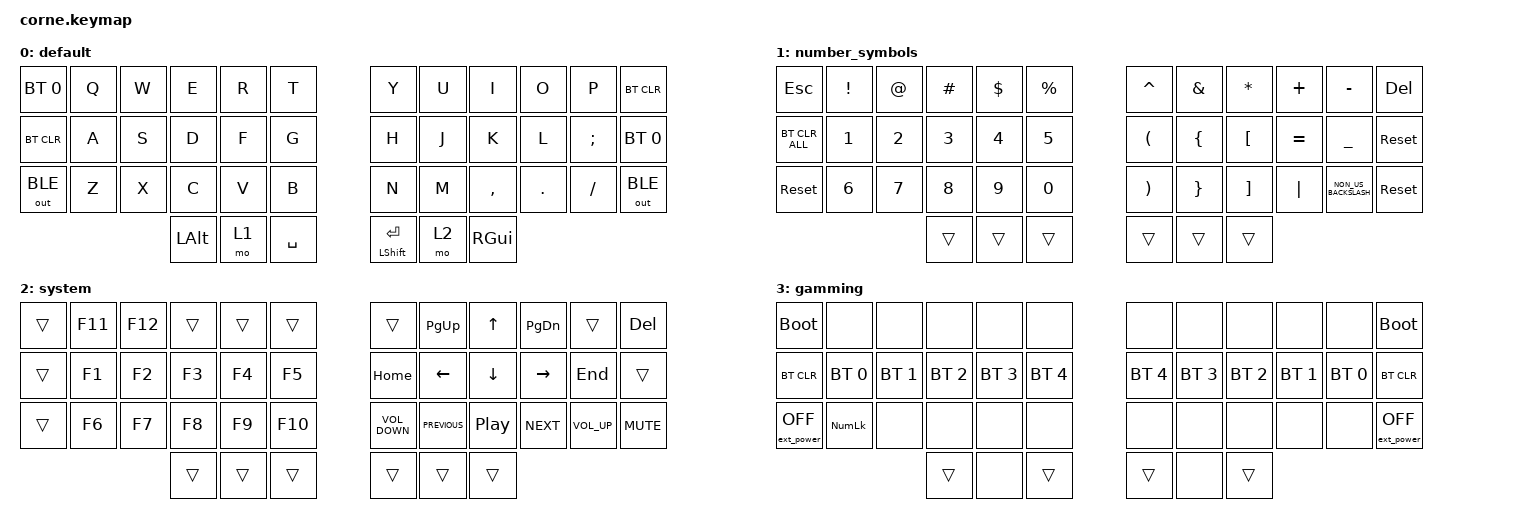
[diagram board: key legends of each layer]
/*
 * Copyright (c) 2020 The ZMK Contributors
 *
 * SPDX-License-Identifier: MIT
 */

#include <behaviors.dtsi>
#include <dt-bindings/zmk/bt.h>
#include <dt-bindings/zmk/ext_power.h>
#include <dt-bindings/zmk/keys.h>
#include <dt-bindings/zmk/outputs.h>

#define DEF 0
#define LWR 1
#define RSE 2
#define ADJ 3

&lt { quick_tap_ms = <220>; };

&mt { quick_tap_ms = <220>; };

/ {
    macros {
        numdot: numdot {
            label = "ZM_numdot";
            compatible = "zmk,behavior-macro";
            #binding-cells = <0>;
            wait-ms = <40>;
            tap-ms = <40>;
            bindings =
                <&macro_press>,
                <&kp LALT>,
                <&macro_tap>,
                <&kp KP_N4 &kp KP_N6>,
                <&macro_release>,
                <&kp LALT>;
        };

        grtsgn: grtsgn {
            label = "ZM_grtsgn";
            compatible = "zmk,behavior-macro";
            #binding-cells = <0>;
            wait-ms = <40>;
            tap-ms = <40>;
            bindings =
                <&macro_press>,
                <&kp LALT>,
                <&macro_tap>,
                <&kp KP_N6 &kp KP_N2>,
                <&macro_release>,
                <&kp LALT>;
        };
    };
};

/ {
    keymap {
        compatible = "zmk,keymap";

        default {
            // ------------------------------------------------------------------------------------------------
            //| LGUI/] |  Q  |  W  |  E  |  R  |  T  |   |  Y  |  U   |  I  |  O  |  P  | RGUI/[ | 
            //| CTRL/` |  A  |  S  |  D  |  F  |  G  |   |  H  |  J   |  K  |  L  |  ;  | CTRL/' |
            //| LALT/\ |  Z  |  X  |  C  |  V  |  B  |   |  N  |  M   |  ,  |  .  |  /  | RALT/- |
            //                             | RSE | SPC | LWR |   | LWR | BKSP | RSE |

            bindings = <
&bt BT_SEL 0  &kp Q  &kp W  &kp E         &kp R  &kp T        &kp Y            &kp U  &kp I          &kp O    &kp P     &bt BT_CLR
&bt BT_CLR    &kp A  &kp S  &kp D         &kp F  &kp G        &kp H            &kp J  &kp K          &kp L    &kp SEMI  &bt BT_SEL 0
&out OUT_BLE  &kp Z  &kp X  &kp C         &kp V  &kp B        &kp N            &kp M  &kp COMMA      &kp DOT  &kp FSLH  &out OUT_BLE
                            &kp LEFT_ALT  &mo 1  &kp SPACE    &mt LSHFT ENTER  &mo 2  &kp RIGHT_GUI
            >;
        };

        number_symbols {
            // -----------------------------------------------------------------------------------------
            //|LGUI/CAPS |  *  |  7 |  8  |  9  |  +  |    |  !  |  @  |  #  |  $  |  %  | RGUI/F1 |
            //|CTRL/MENU |  /  |  4 |  5  |  6  |  -  |    |  ^  |  &  |  *  |  (  |  )  | CTRL/F2 |
            //|  LALT/=  |  0  |  1 |  4  |  3  |  .  |    |  ls |  F4 |  F5 |  F6 |  F7 | RALT/F3 |
            //                      | ADJ | ___ | ___ |    | ___ | ___ | ADJ |

            bindings = <
&kp ESC         &kp EXCLAMATION  &kp AT_SIGN   &kp HASH      &kp DOLLAR    &kp PERCENT     &kp CARET              &kp AMPERSAND    &kp ASTERISK       &kp PLUS   &kp MINUS             &kp DELETE
&bt BT_CLR_ALL  &kp NUMBER_1     &kp NUMBER_2  &kp NUMBER_3  &kp NUMBER_4  &kp NUMBER_5    &kp LEFT_PARENTHESIS   &kp LEFT_BRACE   &kp LEFT_BRACKET   &kp EQUAL  &kp UNDERSCORE        &sys_reset
&sys_reset      &kp NUMBER_6     &kp NUMBER_7  &kp NUMBER_8  &kp NUMBER_9  &kp NUMBER_0    &kp RIGHT_PARENTHESIS  &kp RIGHT_BRACE  &kp RIGHT_BRACKET  &kp PIPE   &kp NON_US_BACKSLASH  &sys_reset
                                               &trans        &trans        &trans          &trans                 &trans           &trans
            >;
        };

        system {
            // -----------------------------------------------------------------------------------------
            //| LGUI |  VOLU  |  PGUP  | PLAY | HOME | ___  |            | ___  | HOME | PLAY| PGUP | VOLU | RGUI |
            //| CTRL |  VOLD  |  LEFT  |  UP  | DOWN | RGHT |            | RGHT | DOWN | UP  | LEFT | VOLD | CTRL | 
            //| LALT |  MUTE  |  PGDN  |  ___ | END  | ___  |            | ___  | END  | ___ | PGDN | MUTE | RALT |
            //                          | ___ | ___  | ADJ  |            | ADJ  | ___  | ___ |

            bindings = <
&trans  &kp F11  &kp F12  &trans  &trans  &trans     &trans             &kp PAGE_UP     &kp UP_ARROW      &kp PAGE_DOWN  &trans           &kp DELETE
&trans  &kp F1   &kp F2   &kp F3  &kp F4  &kp F5     &kp HOME           &kp LEFT        &kp DOWN          &kp RIGHT      &kp END          &trans
&trans  &kp F6   &kp F7   &kp F8  &kp F9  &kp F10    &kp C_VOLUME_DOWN  &kp C_PREVIOUS  &kp C_PLAY_PAUSE  &kp C_NEXT     &kp C_VOLUME_UP  &kp K_MUTE
                          &trans  &trans  &trans     &trans             &trans          &trans
            >;
        };

        gamming {
            // -----------------------------------------------------------------------------------------
            //| BLDR |     |     |     |     |     |   |     |     |     |     |     | BLDR |
            //| BTCLR| BT0 | BT1 | BT2 | BT3 | BT4 |   | BT4 | BT3 | BT2 | BT1 | BT0 | BTCLR|
            //|pwrOFF|NUMLK|     |     |     |     |   |     |     |     |     |     |      |
            //                   |     |     |     |   |     |     |     |

            bindings = <
&bootloader        &none         &none         &none         &none         &none           &none         &none         &none         &none         &none         &bootloader
&bt BT_CLR         &bt BT_SEL 0  &bt BT_SEL 1  &bt BT_SEL 2  &bt BT_SEL 3  &bt BT_SEL 4    &bt BT_SEL 4  &bt BT_SEL 3  &bt BT_SEL 2  &bt BT_SEL 1  &bt BT_SEL 0  &bt BT_CLR
&ext_power EP_OFF  &kp KP_NUM    &none         &none         &none         &none           &none         &none         &none         &none         &none         &ext_power EP_OFF
                                               &trans        &none         &trans          &trans        &none         &trans
            >;
        };
    };
};
